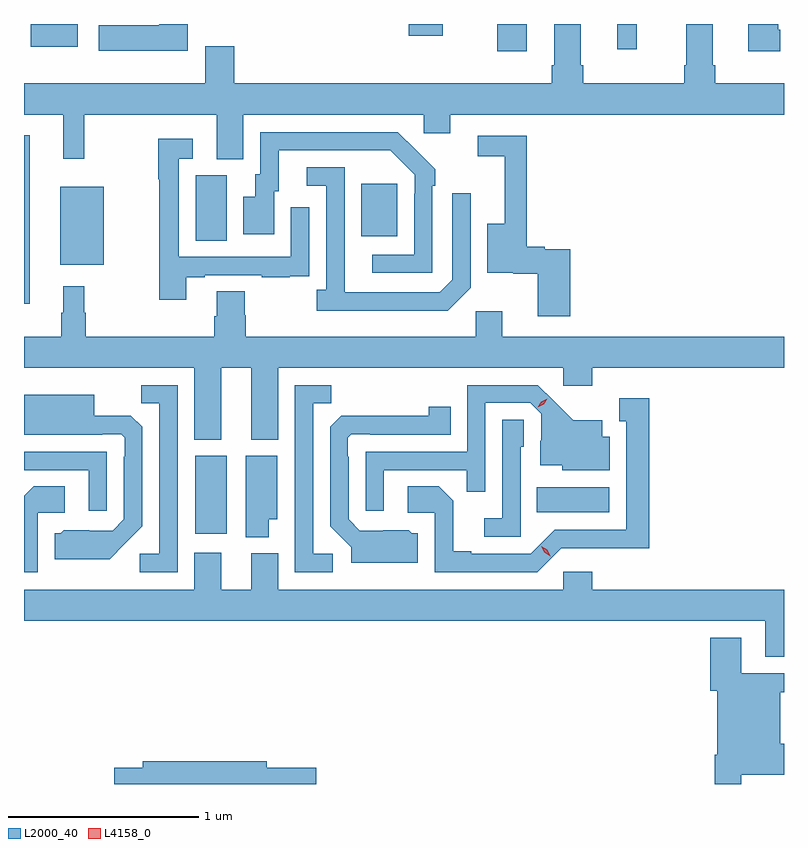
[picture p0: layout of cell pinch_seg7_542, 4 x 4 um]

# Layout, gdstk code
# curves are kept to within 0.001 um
import gdstk
lib = gdstk.Library(unit=1e-6, precision=1e-09)
def R(c, l, rs):  # rectangles x0, y0, x1, y1
    for r in rs: c.add(gdstk.rectangle(r[:2], r[2:], *l))
def P(c, l, *ps):  # polygons
    for p in ps: c.add(gdstk.Polygon(p, *l))
L2000_40 = (2000, 40)
L4158_0 = (4158, 0)

pinch_seg7_542 = lib.new_cell('pinch_seg7_542')
R(pinch_seg7_542, L2000_40, [(169.979,1057.017,170.146,1057.429), (171.778,1057.13,172.159,1057.264), (169.079,1058.228,169.108,1059.115), (169.271,1058.435,169.498,1058.845), (169.982,1058.56,170.146,1058.904), (170.855,1058.585,171.043,1058.86), (171.571,1059.558,171.724,1059.701), (172.202,1059.567,172.304,1059.701), (171.104,1059.639,171.282,1059.701)])
P(pinch_seg7_542, L2000_40, [(173.058,1059.67),(173.05,1059.67),(173.05,1059.701),(172.892,1059.701),(172.892,1059.558),(173.058,1059.558)],
  [(170.093,1058.989),(170.233,1058.989),(170.233,1059.224),(171.183,1059.224),(171.183,1059.126),(171.322,1059.126),(171.322,1059.224),(173.079,1059.224),(173.079,1059.388),(172.718,1059.388),(172.718,1059.484),(172.705,1059.484),(172.705,1059.701),(172.565,1059.701),(172.565,1059.484),(172.553,1059.484),(172.553,1059.388),(172.022,1059.388),(172.022,1059.484),(172.009,1059.484),(172.009,1059.701),(171.869,1059.701),(171.869,1059.484),(171.857,1059.484),(171.857,1059.388),(170.186,1059.388),(170.186,1059.583),(170.033,1059.583),(170.033,1059.388),(169.079,1059.388),(169.079,1059.224),(169.286,1059.224),(169.286,1058.991),(169.396,1058.991),(169.396,1059.224),(170.093,1059.224)],
  [(169.942,1059.701),(169.79,1059.701),(169.79,1059.694),(169.473,1059.694),(169.473,1059.56),(169.942,1059.56)],
  [(169.363,1059.701),(169.253,1059.701),(169.253,1059.7),(169.114,1059.7),(169.114,1059.582),(169.363,1059.582)],
  [(171.228,1058.849),(171.243,1058.849),(171.243,1058.937),(171.046,1059.132),(170.322,1059.132),(170.322,1058.91),(170.297,1058.91),(170.297,1058.791),(170.234,1058.791),(170.234,1058.595),(170.395,1058.595),(170.395,1058.82),(170.419,1058.82),(170.419,1059.036),(171.007,1059.036),(171.135,1058.907),(171.135,1058.807),(171.132,1058.807),(171.132,1058.487),(170.913,1058.487),(170.913,1058.391),(171.228,1058.391)],
  [(171.953,1058.515),(171.819,1058.515),(171.819,1058.528),(171.725,1058.528),(171.725,1059.114),(171.468,1059.114),(171.468,1059.006),(171.608,1059.006),(171.608,1058.65),(171.518,1058.65),(171.518,1058.393),(171.654,1058.393),(171.654,1058.386),(171.782,1058.386),(171.782,1058.163),(171.953,1058.163)],
  [(169.933,1058.367),(170.029,1058.367),(170.029,1058.379),(170.329,1058.379),(170.329,1058.367),(170.477,1058.367),(170.477,1058.373),(170.579,1058.373),(170.579,1058.482),(170.58,1058.482),(170.58,1058.737),(170.484,1058.737),(170.484,1058.475),(169.893,1058.475),(169.893,1058.991),(169.966,1058.991),(169.966,1059.097),(169.785,1059.097),(169.785,1058.884),(169.792,1058.884),(169.792,1058.25),(169.933,1058.25)],
  [(171.429,1058.313),(171.429,1058.809),(171.333,1058.809),(171.333,1058.355),(171.267,1058.289),(170.767,1058.289),(170.766,1058.946),(170.568,1058.946),(170.568,1058.85),(170.67,1058.85),(170.67,1058.302),(170.619,1058.302),(170.619,1058.192),(171.308,1058.192)],
  [(170.116,1057.892),(170.276,1057.892),(170.276,1057.514),(170.416,1057.514),(170.416,1057.892),(171.918,1057.892),(171.918,1057.797),(172.07,1057.797),(172.07,1057.892),(173.079,1057.892),(173.079,1058.056),(171.595,1058.056),(171.595,1058.188),(171.456,1058.188),(171.456,1058.056),(170.246,1058.056),(170.246,1058.169),(170.241,1058.169),(170.241,1058.294),(170.093,1058.294),(170.093,1058.162),(170.081,1058.162),(170.081,1058.056),(169.403,1058.056),(169.403,1058.18),(169.396,1058.18),(169.396,1058.32),(169.286,1058.32),(169.286,1058.18),(169.275,1058.18),(169.275,1058.056),(169.079,1058.056),(169.079,1057.892),(169.976,1057.892),(169.976,1057.514),(170.116,1057.514)],
  [(170.973,1057.353),(171.409,1057.353),(171.409,1057.24),(171.507,1057.24),(171.507,1057.707),(171.744,1057.707),(171.801,1057.65),(171.801,1057.508),(171.797,1057.508),(171.797,1057.379),(171.912,1057.379),(171.912,1057.352),(172.162,1057.352),(172.162,1057.528),(172.123,1057.528),(172.123,1057.615),(171.971,1057.615),(171.784,1057.8),(171.411,1057.8),(171.411,1057.449),(170.877,1057.449),(170.877,1057.14),(170.973,1057.14)],
  [(169.887,1057.8),(169.696,1057.8),(169.696,1057.705),(169.791,1057.705),(169.791,1056.912),(169.689,1056.912),(169.689,1056.816),(169.887,1056.816)],
  [(170.704,1056.912),(170.601,1056.912),(170.601,1057.705),(170.697,1057.705),(170.697,1057.8),(170.505,1057.8),(170.505,1056.816),(170.704,1056.816)],
  [(169.609,1056.965),(169.701,1057.058),(169.701,1057.58),(169.642,1057.639),(169.45,1057.639),(169.45,1057.75),(169.079,1057.75),(169.079,1057.538),(169.49,1057.538),(169.49,1057.542),(169.59,1057.542),(169.608,1057.524),(169.608,1057.424),(169.605,1057.424),(169.605,1057.095),(169.545,1057.035),(169.288,1057.036),(169.272,1057.02),(169.241,1057.02),(169.241,1056.884),(169.529,1056.884)],
  [(171.906,1056.942),(172.369,1056.941),(172.369,1057.732),(172.211,1057.732),(172.211,1057.611),(172.25,1057.611),(172.25,1057.038),(171.873,1057.038),(171.747,1056.912),(171.433,1056.912),(171.433,1056.925),(171.339,1056.925),(171.339,1057.192),(171.263,1057.268),(171.099,1057.268),(171.099,1057.128),(171.24,1057.128),(171.24,1056.816),(171.78,1056.816)],
  [(171.151,1057.02),(171.12,1057.02),(171.104,1057.036),(170.847,1057.035),(170.787,1057.095),(170.787,1057.424),(170.784,1057.424),(170.784,1057.524),(170.802,1057.542),(170.902,1057.542),(170.902,1057.539),(171.326,1057.539),(171.326,1057.687),(171.208,1057.687),(171.208,1057.64),(170.75,1057.639),(170.691,1057.58),(170.691,1057.058),(170.801,1056.948),(170.801,1056.866),(171.151,1056.866)],
  [(171.693,1057.476),(171.708,1057.476),(171.708,1057.619),(171.597,1057.619),(171.597,1057.099),(171.501,1057.099),(171.501,1057.002),(171.693,1057.002)],
  [(169.515,1057.449),(169.079,1057.449),(169.079,1057.353),(169.419,1057.353),(169.419,1057.14),(169.515,1057.14)],
  [(170.368,1057.094),(170.413,1057.094),(170.413,1057.429),(170.246,1057.429),(170.246,1057.001),(170.368,1057.001)],
  [(169.152,1057.128),(169.294,1057.128),(169.294,1057.268),(169.129,1057.268),(169.079,1057.218),(169.079,1056.816),(169.152,1056.816)],
  [(169.976,1056.919),(169.976,1056.724),(169.079,1056.724),(169.079,1056.56),(172.979,1056.56),(172.979,1056.37),(173.079,1056.37),(173.079,1056.724),(172.07,1056.724),(172.07,1056.817),(171.918,1056.817),(171.918,1056.724),(170.416,1056.724),(170.416,1056.916),(170.276,1056.916),(170.276,1056.724),(170.116,1056.724),(170.116,1056.919)],
  [(172.855,1055.75),(173.079,1055.75),(173.079,1055.914),(173.059,1055.914),(173.059,1056.184),(173.079,1056.184),(173.079,1056.285),(172.855,1056.285),(172.855,1056.472),(172.691,1056.472),(172.691,1056.192),(172.727,1056.192),(172.727,1055.854),(172.715,1055.854),(172.715,1055.701),(172.855,1055.701)],
  [(170.617,1055.786),(170.356,1055.786),(170.356,1055.822),(169.703,1055.822),(169.703,1055.786),(169.554,1055.786),(169.554,1055.701),(170.617,1055.701)])
P(pinch_seg7_542, L4158_0, [(171.85,1056.9),(171.818,1056.92),(171.801,1056.952),(171.801,1056.953),(171.801,1056.953),(171.833,1056.933),(171.85,1056.901),(171.85,1056.9)],
  [(171.784,1057.684),(171.784,1057.684),(171.801,1057.714),(171.832,1057.729),(171.832,1057.729),(171.832,1057.729),(171.815,1057.699),(171.784,1057.684)])

lib.write_gds('pinch_seg7_542.gds')
